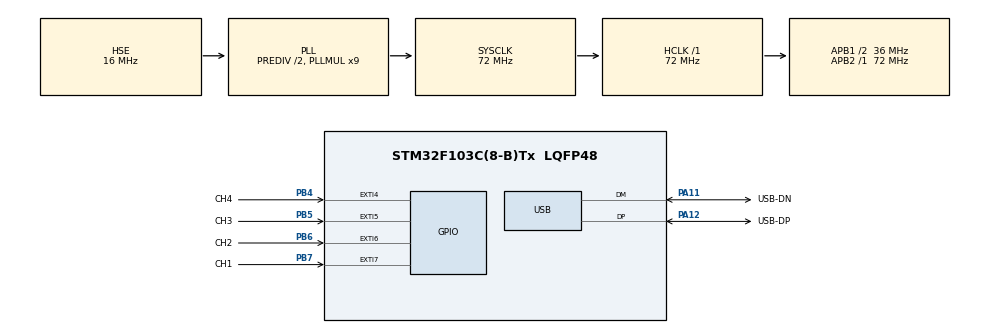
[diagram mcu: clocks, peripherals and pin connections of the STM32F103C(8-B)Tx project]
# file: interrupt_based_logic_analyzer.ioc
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Mcu.Family=STM32F1
Mcu.Name=STM32F103C(8-B)Tx
Mcu.Package=LQFP48
NVIC.EXTI4_IRQn=true\:0\:0\:false\:false\:true\:true\:true\:true
NVIC.EXTI9_5_IRQn=true\:0\:0\:false\:false\:true\:true\:true\:true
NVIC.PriorityGroup=NVIC_PRIORITYGROUP_4
NVIC.USB_LP_CAN1_RX0_IRQn=true\:0\:0\:false\:false\:true\:false\:true\:true
PA11.GPIO_Label=USB-DN
PA11.Mode=Device
PA11.Signal=USB_DM
PA12.GPIO_Label=USB-DP
PA12.Mode=Device
PA12.Signal=USB_DP
PB4.GPIO_Label=CH4
PB4.GPIO_ModeDefaultEXTI=GPIO_MODE_IT_RISING_FALLING
PB4.Signal=GPXTI4
PB5.GPIO_Label=CH3
PB5.GPIO_ModeDefaultEXTI=GPIO_MODE_IT_RISING_FALLING
PB5.Signal=GPXTI5
PB6.GPIO_Label=CH2
PB6.GPIO_ModeDefaultEXTI=GPIO_MODE_IT_RISING_FALLING
PB6.Signal=GPXTI6
PB7.GPIO_Label=CH1
PB7.GPIO_ModeDefaultEXTI=GPIO_MODE_IT_RISING_FALLING
PB7.Signal=GPXTI7
PD0-OSC_IN.GPIO_Label=HSE_IN
PD0-OSC_IN.Mode=HSE-External-Oscillator
PD0-OSC_IN.Signal=RCC_OSC_IN
PD1-OSC_OUT.GPIO_Label=HSE_OUT
PD1-OSC_OUT.Mode=HSE-External-Oscillator
PD1-OSC_OUT.Signal=RCC_OSC_OUT
ProjectManager.HeapSize=0x200
ProjectManager.StackSize=0x400
ProjectManager.TargetToolchain=STM32CubeIDE
RCC.AHBFreq_Value=72000000
RCC.APB1CLKDivider=RCC_HCLK_DIV2
RCC.APB1Freq_Value=36000000
RCC.APB1TimFreq_Value=72000000
RCC.APB2Freq_Value=72000000
RCC.APB2TimFreq_Value=72000000
RCC.HCLKFreq_Value=72000000
RCC.HSEDivPLL=RCC_HSE_PREDIV_DIV2
RCC.HSE_VALUE=16000000
RCC.PLLMUL=RCC_PLL_MUL9
RCC.SYSCLKFreq_VALUE=72000000
RCC.SYSCLKSource=RCC_SYSCLKSOURCE_PLLCLK
RCC.USBFreq_Value=48000000
RCC.USBPrescaler=RCC_USBCLKSOURCE_PLL_DIV1_5
TIM2.Prescaler=13
TIM2.TIM_MasterOutputTrigger=TIM_TRGO_UPDATE
TIM2.TIM_MasterSlaveMode=TIM_MASTERSLAVEMODE_ENABLE
USB_DEVICE.CLASS_NAME_FS=CDC
USB_DEVICE.VirtualMode=Cdc
USB_DEVICE.VirtualModeFS=Cdc_FS
VP_SYS_VS_ND.Mode=No_Debug
VP_TIM2_VS_ClockSourceINT.Mode=Internal
VP_TIM3_VS_ClockSourceITR.Mode=TriggerSource_ITR1
VP_TIM3_VS_ControllerModeClock.Mode=Clock Mode
VP_USB_DEVICE_VS_USB_DEVICE_CDC_FS.Mode=CDC_FS
board=custom

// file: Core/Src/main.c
/* USER CODE BEGIN Header */
/**
  ******************************************************************************
  * @file           : main.c
  * @brief          : Main program body
  ******************************************************************************
  * @attention
  *
  * Copyright (c) 2025 STMicroelectronics.
  * All rights reserved.
  *
  * This software is licensed under terms that can be found in the LICENSE file
  * in the root directory of this software component.
  * If no LICENSE file comes with this software, it is provided AS-IS.
  *
  ******************************************************************************
  */
/* USER CODE END Header */
#include "main.h"
#include "usb_device.h"

/* USER CODE BEGIN Includes */
#include "usbd_cdc_if.h"
/* USER CODE END Includes */

TIM_HandleTypeDef htim2;
TIM_HandleTypeDef htim3;

/* USER CODE BEGIN PV */
#define EVENT_CHUNK_SIZE 16       		// Number of events to send per packet (16 * 4 = 64 bytes)
#define USB_SEND_INTERVAL_MS 2    		// Send every 2 ms
#define MAX_EVENTS 1024					// 2^10
#define EVENT_MASK (MAX_EVENTS - 1) 	// bitmask to avoid wraparounds
volatile uint32_t write_index = 0;
volatile uint32_t read_index = 0;
volatile uint32_t event_buffer[MAX_EVENTS];

/* USER CODE END PV */

void SystemClock_Config(void);
static void MX_GPIO_Init(void);
static void MX_TIM2_Init(void);
static void MX_TIM3_Init(void);

/* USER CODE BEGIN 0 */

/**
 * @brief uses TIM2 and TIM3 master/slave chain to get a 32-bit running
 * timer value; needed to elongate life of logic analzyer
 * @retval 32-bit clock time
 */
uint32_t get_32bit_timer(void) {
    uint16_t high1 = TIM3->CNT;
    uint16_t low  = TIM2->CNT;
    uint16_t high2 = TIM3->CNT;

    if (high1 != high2) {
        // Overflow happened between reads, re-read
        low  = TIM2->CNT;
        high1 = high2;
    }

    return ((uint32_t)high1 << 16) | low;
}

/**
 * @brief Handles interrupts from the serial channel pins and
 *		  packages data into 32 bits; msb is rising/falling edge
 *		  next 2 bits for channel number, following 29 bits for
 *		  the timer
 * @param GPIO_Pin - Channel pin that caused the interrupt
 * @retval none
 */
void HAL_GPIO_EXTI_Callback(uint16_t GPIO_Pin)
{

    uint32_t channel;
    if      (GPIO_Pin == GPIO_PIN_4) channel = 0;
    else if (GPIO_Pin == GPIO_PIN_5) channel = 1;
    else if (GPIO_Pin == GPIO_PIN_6) channel = 2;
    else if (GPIO_Pin == GPIO_PIN_7) channel = 3;
    else return;

    uint32_t time = get_32bit_timer();
    uint8_t pin_state = HAL_GPIO_ReadPin(GPIOB, GPIO_Pin);
    uint32_t edge = (pin_state == GPIO_PIN_SET) ? 1 : 0; // 1 if rising edge, 0 if falling
    uint32_t data = (edge << 31) | (channel << 29) | (time & 0x1FFFFFFF); // 29-bit mask

    uint32_t next_write = write_index + 1;
    if (next_write - read_index <= MAX_EVENTS)
    {
    	event_buffer[write_index & EVENT_MASK] = data;
    	write_index = next_write;
    }
}

/* USER CODE END 0 */

int main(void)
{

  /* MCU Configuration--------------------------------------------------------*/

  /* Reset of all peripherals, Initializes the Flash interface and the Systick. */
  HAL_Init();

  /* Configure the system clock */
  SystemClock_Config();

  /* Initialize all configured peripherals */
  MX_GPIO_Init();
  MX_TIM2_Init();
  MX_USB_DEVICE_Init();
  MX_TIM3_Init();
  /* USER CODE BEGIN 2 */

  HAL_TIM_Base_Start(&htim2);
  HAL_TIM_Base_Start(&htim3);
  uint32_t last_usb_send_time = 0;

  /* USER CODE END 2 */

  /* Infinite loop */
  /* USER CODE BEGIN WHILE */
  while (1)
  {

	  uint32_t now = HAL_GetTick(); // milliseconds

	  __disable_irq();
	  uint32_t diff = write_index - read_index;
	  __enable_irq();

	  // Check if it's time to send OR buffer is filling
	  if ((diff >= EVENT_CHUNK_SIZE) || (now - last_usb_send_time >= USB_SEND_INTERVAL_MS))
	  {
		  // Check how many events we can send
		  uint32_t to_send = MIN(EVENT_CHUNK_SIZE, diff);

		  if (to_send > 0)
		  {
			  uint8_t usb_packet[to_send * 4];

			  for (uint32_t i = 0; i < to_send; ++i)
			  {
				  uint32_t event = event_buffer[read_index & EVENT_MASK];
				  read_index++;
				  usb_packet[i*4 + 0] = event & 0xFF;
				  usb_packet[i*4 + 1] = (event >> 8) & 0xFF;
				  usb_packet[i*4 + 2] = (event >> 16) & 0xFF;
				  usb_packet[i*4 + 3] = (event >> 24) & 0xFF;
			  }

			  // Retry if USB busy
			  while (CDC_Transmit_FS(usb_packet, to_send * 4) == USBD_BUSY);
			  last_usb_send_time = now;
		  }
	  }

	  // Shut down if timer exceeds 29th bit (~1.74 mins w/ 5.14MHz timer)
	  if (get_32bit_timer() >= (1UL << 29))
	  {
		  HAL_TIM_Base_Stop(&htim2);
		  HAL_TIM_Base_Stop(&htim3);
		  HAL_NVIC_DisableIRQ(EXTI4_IRQn);
		  HAL_NVIC_DisableIRQ(EXTI9_5_IRQn);
		  write_index = 0;
		  read_index = 0;
	  }

    /* USER CODE END WHILE */

  }
}

void SystemClock_Config(void)
{
  RCC_OscInitTypeDef RCC_OscInitStruct = {0};
  RCC_ClkInitTypeDef RCC_ClkInitStruct = {0};
  RCC_PeriphCLKInitTypeDef PeriphClkInit = {0};

  /** Initializes the RCC Oscillators according to the specified parameters
  * in the RCC_OscInitTypeDef structure.
  */
  RCC_OscInitStruct.OscillatorType = RCC_OSCILLATORTYPE_HSE;
  RCC_OscInitStruct.HSEState = RCC_HSE_ON;
  RCC_OscInitStruct.HSEPredivValue = RCC_HSE_PREDIV_DIV2;
  RCC_OscInitStruct.HSIState = RCC_HSI_ON;
  RCC_OscInitStruct.PLL.PLLState = RCC_PLL_ON;
  RCC_OscInitStruct.PLL.PLLSource = RCC_PLLSOURCE_HSE;
  RCC_OscInitStruct.PLL.PLLMUL = RCC_PLL_MUL9;
  if (HAL_RCC_OscConfig(&RCC_OscInitStruct) != HAL_OK)
  {
    Error_Handler();
  }

  /** Initializes the CPU, AHB and APB buses clocks
  */
  RCC_ClkInitStruct.ClockType = RCC_CLOCKTYPE_HCLK|RCC_CLOCKTYPE_SYSCLK
                              |RCC_CLOCKTYPE_PCLK1|RCC_CLOCKTYPE_PCLK2;
  RCC_ClkInitStruct.SYSCLKSource = RCC_SYSCLKSOURCE_PLLCLK;
  RCC_ClkInitStruct.AHBCLKDivider = RCC_SYSCLK_DIV1;
  RCC_ClkInitStruct.APB1CLKDivider = RCC_HCLK_DIV2;
  RCC_ClkInitStruct.APB2CLKDivider = RCC_HCLK_DIV1;

  if (HAL_RCC_ClockConfig(&RCC_ClkInitStruct, FLASH_LATENCY_2) != HAL_OK)
  {
    Error_Handler();
  }
  PeriphClkInit.PeriphClockSelection = RCC_PERIPHCLK_USB;
  PeriphClkInit.UsbClockSelection = RCC_USBCLKSOURCE_PLL_DIV1_5;
  if (HAL_RCCEx_PeriphCLKConfig(&PeriphClkInit) != HAL_OK)
  {
    Error_Handler();
  }
}

static void MX_TIM2_Init(void)
{

  TIM_ClockConfigTypeDef sClockSourceConfig = {0};
  TIM_MasterConfigTypeDef sMasterConfig = {0};

  htim2.Instance = TIM2;
  htim2.Init.Prescaler = 13;
  htim2.Init.CounterMode = TIM_COUNTERMODE_UP;
  htim2.Init.Period = 65535;
  htim2.Init.ClockDivision = TIM_CLOCKDIVISION_DIV1;
  htim2.Init.AutoReloadPreload = TIM_AUTORELOAD_PRELOAD_DISABLE;
  if (HAL_TIM_Base_Init(&htim2) != HAL_OK)
  {
    Error_Handler();
  }
  sClockSourceConfig.ClockSource = TIM_CLOCKSOURCE_INTERNAL;
  if (HAL_TIM_ConfigClockSource(&htim2, &sClockSourceConfig) != HAL_OK)
  {
    Error_Handler();
  }
  sMasterConfig.MasterOutputTrigger = TIM_TRGO_UPDATE;
  sMasterConfig.MasterSlaveMode = TIM_MASTERSLAVEMODE_ENABLE;
  if (HAL_TIMEx_MasterConfigSynchronization(&htim2, &sMasterConfig) != HAL_OK)
  {
    Error_Handler();
  }

}

static void MX_TIM3_Init(void)
{

  TIM_SlaveConfigTypeDef sSlaveConfig = {0};
  TIM_MasterConfigTypeDef sMasterConfig = {0};

  htim3.Instance = TIM3;
  htim3.Init.Prescaler = 0;
  htim3.Init.CounterMode = TIM_COUNTERMODE_UP;
  htim3.Init.Period = 65535;
  htim3.Init.ClockDivision = TIM_CLOCKDIVISION_DIV1;
  htim3.Init.AutoReloadPreload = TIM_AUTORELOAD_PRELOAD_DISABLE;
  if (HAL_TIM_Base_Init(&htim3) != HAL_OK)
  {
    Error_Handler();
  }
  sSlaveConfig.SlaveMode = TIM_SLAVEMODE_EXTERNAL1;
  sSlaveConfig.InputTrigger = TIM_TS_ITR1;
  if (HAL_TIM_SlaveConfigSynchro(&htim3, &sSlaveConfig) != HAL_OK)
  {
    Error_Handler();
  }
  sMasterConfig.MasterOutputTrigger = TIM_TRGO_RESET;
  sMasterConfig.MasterSlaveMode = TIM_MASTERSLAVEMODE_DISABLE;
  if (HAL_TIMEx_MasterConfigSynchronization(&htim3, &sMasterConfig) != HAL_OK)
  {
    Error_Handler();
  }

}

static void MX_GPIO_Init(void)
{
  GPIO_InitTypeDef GPIO_InitStruct = {0};

  /* GPIO Ports Clock Enable */
  __HAL_RCC_GPIOD_CLK_ENABLE();
  __HAL_RCC_GPIOA_CLK_ENABLE();
  __HAL_RCC_GPIOB_CLK_ENABLE();

  /*Configure GPIO pins : CH4_Pin CH3_Pin CH2_Pin CH1_Pin */
  GPIO_InitStruct.Pin = CH4_Pin|CH3_Pin|CH2_Pin|CH1_Pin;
  GPIO_InitStruct.Mode = GPIO_MODE_IT_RISING_FALLING;
  GPIO_InitStruct.Pull = GPIO_NOPULL;
  HAL_GPIO_Init(GPIOB, &GPIO_InitStruct);

  /* EXTI interrupt init*/
  HAL_NVIC_SetPriority(EXTI4_IRQn, 0, 0);
  HAL_NVIC_EnableIRQ(EXTI4_IRQn);

  HAL_NVIC_SetPriority(EXTI9_5_IRQn, 0, 0);
  HAL_NVIC_EnableIRQ(EXTI9_5_IRQn);

}

void Error_Handler(void)
{
  __disable_irq();
  while (1)
  {
  }
}
